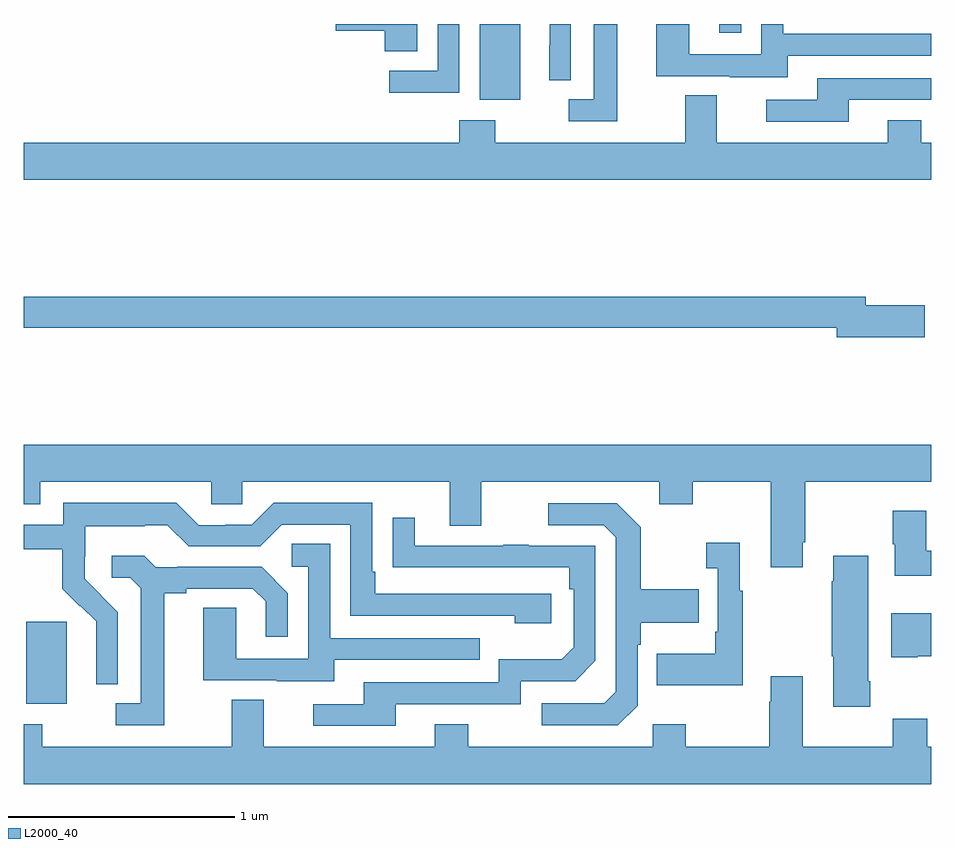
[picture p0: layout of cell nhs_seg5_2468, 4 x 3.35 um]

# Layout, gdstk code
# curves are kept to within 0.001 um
import gdstk
lib = gdstk.Library(unit=1e-6, precision=1e-09)
def R(c, l, rs):  # rectangles x0, y0, x1, y1
    for r in rs: c.add(gdstk.rectangle(r[:2], r[2:], *l))
def P(c, l, *ps):  # polygons
    for p in ps: c.add(gdstk.Polygon(p, *l))
L2000_40 = (2000, 40)

nhs_seg5_2468 = lib.new_cell('nhs_seg5_2468')
R(nhs_seg5_2468, L2000_40, [(255.011,835.802,255.19,836.163), (257.009,838.466,257.188,838.799), (258.065,838.761,258.162,838.799)])
P(nhs_seg5_2468, L2000_40, [(256.92,838.799),(256.824,838.799),(256.824,838.593),(256.611,838.593),(256.611,838.495),(256.92,838.495)],
  [(257.412,838.799),(257.318,838.799),(257.318,838.706),(257.316,838.706),(257.316,838.552),(257.412,838.552)],
  [(256.735,838.799),(256.374,838.799),(256.374,838.769),(256.592,838.769),(256.592,838.678),(256.735,838.678)],
  [(258.367,838.659),(259,838.659),(259,838.755),(258.348,838.755),(258.348,838.799),(258.252,838.799),(258.252,838.665),(257.934,838.665),(257.934,838.799),(257.789,838.799),(257.789,838.569),(258.113,838.569),(258.113,838.565),(258.367,838.565)],
  [(257.617,838.799),(257.513,838.799),(257.513,838.467),(257.403,838.467),(257.403,838.371),(257.617,838.371)],
  [(258.637,838.464),(259,838.464),(259,838.56),(258.497,838.56),(258.497,838.464),(258.273,838.464),(258.273,838.368),(258.637,838.368)],
  [(259,838.276),(258.957,838.276),(258.957,838.375),(258.809,838.375),(258.809,838.276),(258.055,838.276),(258.055,838.484),(257.915,838.484),(257.915,838.276),(257.079,838.276),(257.079,838.375),(256.919,838.375),(256.919,838.276),(255,838.276),(255,838.112),(259,838.112)],
  [(258.973,837.56),(258.712,837.56),(258.712,837.596),(255,837.596),(255,837.46),(258.584,837.46),(258.584,837.418),(258.973,837.418)],
  [(258.433,836.515),(258.446,836.515),(258.446,836.78),(259,836.78),(259,836.944),(255,836.944),(255,836.681),(255.073,836.681),(255.073,836.78),(255.825,836.78),(255.825,836.682),(255.963,836.682),(255.963,836.78),(256.877,836.78),(256.877,836.586),(257.017,836.586),(257.017,836.78),(257.801,836.78),(257.801,836.681),(257.949,836.681),(257.949,836.78),(258.293,836.78),(258.293,836.403),(258.433,836.403)],
  [(255.414,836.206),(255.268,836.354),(255.268,836.451),(255.27,836.451),(255.27,836.585),(255.533,836.585),(255.533,836.589),(255.633,836.589),(255.726,836.496),(256.041,836.496),(256.137,836.592),(256.44,836.592),(256.44,836.19),(257.165,836.19),(257.165,836.156),(257.326,836.156),(257.326,836.286),(256.549,836.286),(256.549,836.383),(256.536,836.383),(256.536,836.688),(256.101,836.688),(256.005,836.592),(255.887,836.592),(255.887,836.589),(255.771,836.589),(255.671,836.689),(255.174,836.689),(255.174,836.592),(255,836.592),(255,836.484),(255.169,836.484),(255.169,836.309),(255.246,836.232),(255.249,836.235),(255.32,836.165),(255.32,836.042),(255.318,836.042),(255.318,835.888),(255.414,835.888)],
  [(257.706,835.794),(257.706,836.063),(257.719,836.063),(257.719,836.159),(257.975,836.159),(257.975,836.307),(257.719,836.307),(257.719,836.579),(257.613,836.685),(257.313,836.685),(257.313,836.589),(257.556,836.589),(257.61,836.535),(257.61,835.854),(257.559,835.803),(257.283,835.803),(257.283,835.707),(257.619,835.707)],
  [(259,836.476),(258.979,836.476),(258.979,836.653),(258.832,836.653),(258.832,836.505),(258.839,836.505),(258.839,836.366),(259,836.366)],
  [(256.639,835.8),(257.19,835.8),(257.19,835.902),(257.43,835.902),(257.52,835.992),(257.52,836.499),(257.225,836.499),(257.225,836.504),(257.113,836.504),(257.113,836.499),(256.723,836.499),(256.723,836.623),(256.627,836.623),(256.627,836.404),(257.404,836.403),(257.404,836.306),(257.424,836.306),(257.424,836.052),(257.371,835.999),(257.094,835.999),(257.094,835.896),(256.499,835.896),(256.499,835.8),(256.275,835.8),(256.275,835.704),(256.639,835.704)],
  [(258.169,836.299),(258.157,836.299),(258.157,836.512),(258.009,836.512),(258.009,836.399),(258.06,836.399),(258.06,836.119),(258.048,836.119),(258.048,836.023),(257.791,836.023),(257.791,835.883),(258.169,835.883)],
  [(256.369,835.995),(257.009,835.995),(257.009,836.091),(256.35,836.091),(256.35,836.507),(256.182,836.507),(256.182,836.406),(256.254,836.406),(256.254,836.001),(255.936,836.001),(255.936,836.225),(255.791,836.225),(255.791,835.905),(256.115,835.905),(256.115,835.901),(256.369,835.901)],
  [(258.732,835.9),(258.724,835.9),(258.724,836.455),(258.569,836.455),(258.569,836.342),(258.562,836.342),(258.562,836.011),(258.569,836.011),(258.569,835.788),(258.732,835.788)],
  [(255.619,836.288),(255.715,836.288),(255.715,836.31),(256.01,836.31),(256.067,836.253),(256.067,836.097),(256.164,836.097),(256.164,836.29),(256.048,836.406),(255.676,836.406),(255.676,836.403),(255.582,836.403),(255.53,836.455),(255.387,836.455),(255.387,836.358),(255.468,836.358),(255.515,836.311),(255.515,835.803),(255.405,835.803),(255.405,835.707),(255.619,835.707)],
  [(258.942,836.012),(259,836.012),(259,836.2),(258.824,836.2),(258.824,836.006),(258.942,836.006)],
  [(258.293,835.924),(258.293,835.811),(258.286,835.811),(258.286,835.612),(257.919,835.612),(257.919,835.711),(257.772,835.711),(257.772,835.612),(256.959,835.612),(256.959,835.711),(256.811,835.711),(256.811,835.612),(256.057,835.612),(256.057,835.82),(255.917,835.82),(255.917,835.612),(255.081,835.612),(255.081,835.711),(255,835.711),(255,835.448),(259,835.448),(259,835.612),(258.983,835.612),(258.983,835.736),(258.832,835.736),(258.832,835.612),(258.433,835.612),(258.433,835.924)])

lib.write_gds('nhs_seg5_2468.gds')
